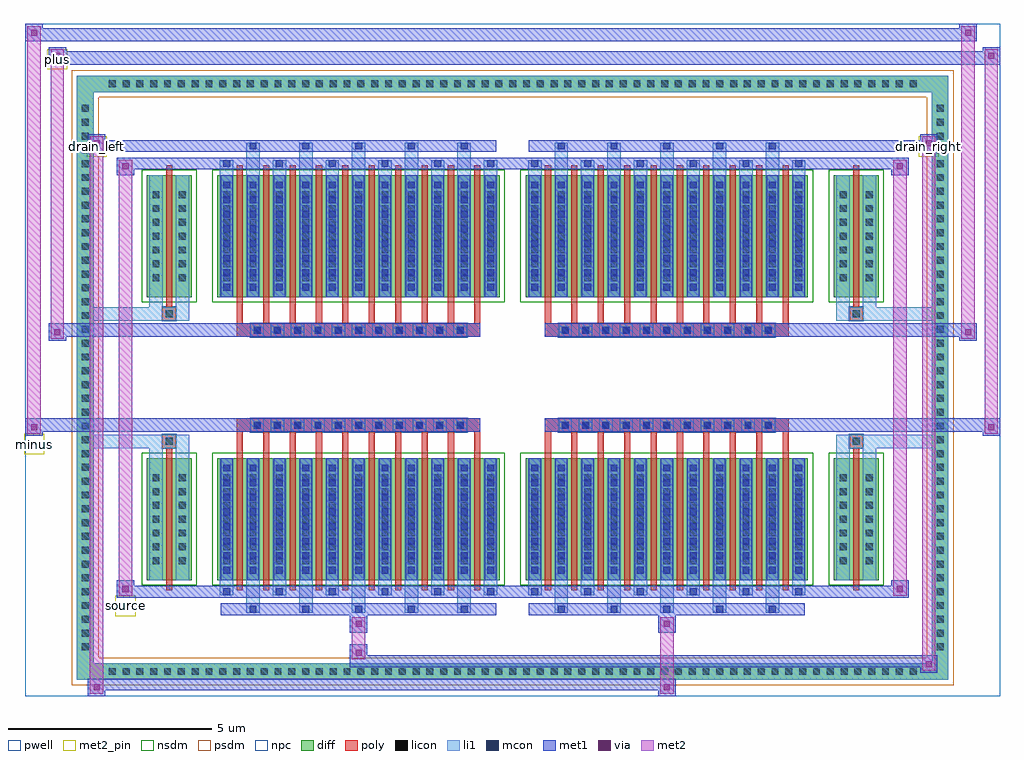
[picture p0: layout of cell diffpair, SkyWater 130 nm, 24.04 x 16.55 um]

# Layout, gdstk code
import gdstk
lib = gdstk.Library(unit=1e-6, precision=5e-09)
def R(c, l, rs):  # rectangles x0, y0, x1, y1
    for r in rs: c.add(gdstk.rectangle(r[:2], r[2:], *l))
def A(c, l, x, y, w, h, nx, ny, dx, dy):  # array of equal rectangles
    R(c, l, [(x+i*dx, y+j*dy, x+i*dx+w, y+j*dy+h) for i in range(nx) for j in range(ny)])
def P(c, l, *ps):  # polygons
    for p in ps: c.add(gdstk.Polygon(p, *l))
pwell = (64, 44)
diff = (65, 20)
poly = (66, 20)
licon = (66, 44)
li1 = (67, 20)
mcon = (67, 44)
met1 = (68, 20)
via = (68, 44)
met2_pin = (69, 16)
met2 = (69, 20)
nsdm = (93, 44)
psdm = (94, 20)
npc = (95, 20)

diffpair = lib.new_cell('diffpair')
R(diffpair, pwell, [(-12,-7.84,12,8.71), (-9.32,-6.03,-0.01,-0.805), (0.01,-6.03,9.32,-0.805), (-9.32,0.805,-0.01,6.03), (0.01,0.805,9.32,6.03)])
A(diffpair, diff, -10.065, -7.44, 0.41, 0.41, 59, 2, 0.34, 14.47)
A(diffpair, diff, -10.73, -6.835, 0.41, 0.41, 1, 40, 0, 0.34)
A(diffpair, diff, 10.32, -6.835, 0.41, 0.41, 1, 40, 0, 0.34)
R(diffpair, diff, [(-10.065,-7.44,10.065,-7.03), (-10.73,-6.835,-10.32,6.835), (10.32,-6.835,10.73,6.835), (-9.01,-4.985,-7.91,-1.985), (-7.27,-4.985,-0.32,-1.985), (0.32,-4.985,7.27,-1.985), (7.91,-4.985,9.01,-1.985), (-9.01,1.985,-7.91,4.985), (-7.27,1.985,-0.32,4.985), (0.32,1.985,7.27,4.985), (7.91,1.985,9.01,4.985), (-10.065,7.03,10.065,7.44)])
P(diffpair, diff, [(10.73,7.44),(-10.73,7.44),(-10.73,-7.03),(-10.32,-7.03),(-10.32,7.03),(10.32,7.03),(10.32,-7.03),(-10.32,-7.03),(-10.73,-7.03),(-10.73,-7.44),(10.73,-7.44)])
A(diffpair, poly, -6.795, -5.235, 0.15, 3.5, 10, 2, 0.65, 6.97)
A(diffpair, poly, 0.795, -5.235, 0.15, 3.5, 10, 2, 0.65, 6.97)
A(diffpair, poly, -6.795, -1.735, 0.15, 0.4, 10, 2, 0.65, 3.07)
A(diffpair, poly, 0.795, -1.735, 0.15, 0.4, 10, 2, 0.65, 3.07)
A(diffpair, poly, -6.46, -1.335, 0.33, 0.33, 11, 2, 0.5, 2.34)
A(diffpair, poly, 1.13, -1.335, 0.33, 0.33, 11, 2, 0.5, 2.34)
R(diffpair, poly, [(-8.535,-5.235,-8.385,-1.735), (8.385,-5.235,8.535,-1.735), (-8.625,-1.735,-8.295,-1.405), (-8.625,-1.735,-8.295,-1.405), (8.295,-1.735,8.625,-1.405), (8.295,-1.735,8.625,-1.405), (-6.795,-1.335,-0.795,-1.005), (0.795,-1.335,6.795,-1.005), (-6.795,1.005,-0.795,1.335), (0.795,1.005,6.795,1.335), (-8.625,1.405,-8.295,1.735), (-8.625,1.405,-8.295,1.735), (8.295,1.405,8.625,1.735), (8.295,1.405,8.625,1.735), (-8.535,1.735,-8.385,5.235), (8.385,1.735,8.535,5.235)])
A(diffpair, licon, -9.945, -7.32, 0.17, 0.17, 59, 2, 0.34, 14.47)
A(diffpair, licon, -10.61, -6.715, 0.17, 0.17, 1, 40, 0, 0.34)
A(diffpair, licon, 10.44, -6.715, 0.17, 0.17, 1, 40, 0, 0.34)
A(diffpair, licon, -8.87, -4.59, 0.17, 0.17, 1, 7, 0, 0.34)
A(diffpair, licon, -8.22, -4.59, 0.17, 0.17, 1, 7, 0, 0.34)
A(diffpair, licon, -7.13, -4.59, 0.17, 0.17, 11, 7, 0.65, 0.34)
A(diffpair, licon, 0.46, -4.59, 0.17, 0.17, 11, 7, 0.65, 0.34)
A(diffpair, licon, 8.05, -4.59, 0.17, 0.17, 1, 7, 0, 0.34)
A(diffpair, licon, 8.7, -4.59, 0.17, 0.17, 1, 7, 0, 0.34)
A(diffpair, licon, -6.38, -1.255, 0.17, 0.17, 11, 2, 0.5, 2.34)
A(diffpair, licon, 1.21, -1.255, 0.17, 0.17, 11, 2, 0.5, 2.34)
A(diffpair, licon, -8.87, 2.38, 0.17, 0.17, 1, 7, 0, 0.34)
A(diffpair, licon, -8.22, 2.38, 0.17, 0.17, 1, 7, 0, 0.34)
A(diffpair, licon, -7.13, 2.38, 0.17, 0.17, 11, 7, 0.65, 0.34)
A(diffpair, licon, 0.46, 2.38, 0.17, 0.17, 11, 7, 0.65, 0.34)
A(diffpair, licon, 8.05, 2.38, 0.17, 0.17, 1, 7, 0, 0.34)
A(diffpair, licon, 8.7, 2.38, 0.17, 0.17, 1, 7, 0, 0.34)
R(diffpair, licon, [(-8.545,-1.655,-8.375,-1.485), (8.375,-1.655,8.545,-1.485), (-8.545,1.485,-8.375,1.655), (8.375,1.485,8.545,1.655)])
A(diffpair, li1, -10.025, -7.4, 0.33, 0.33, 59, 2, 0.34, 14.47)
A(diffpair, li1, -10.69, -6.795, 0.33, 0.33, 1, 40, 0, 0.34)
A(diffpair, li1, 10.36, -6.795, 0.33, 0.33, 1, 40, 0, 0.34)
A(diffpair, li1, -6.56, -5.79, 0.33, 0.805, 5, 2, 1.3, 10.775)
A(diffpair, li1, -6.48, -5.79, 0.17, 0.17, 5, 2, 1.3, 11.41)
A(diffpair, li1, 1.03, -5.79, 0.33, 0.805, 5, 2, 1.3, 10.775)
A(diffpair, li1, 1.11, -5.79, 0.17, 0.17, 5, 2, 1.3, 11.41)
A(diffpair, li1, -7.21, -5.36, 0.33, 0.375, 6, 2, 1.3, 10.345)
A(diffpair, li1, -7.13, -5.36, 0.17, 0.17, 6, 2, 1.3, 10.55)
A(diffpair, li1, 0.38, -5.36, 0.33, 0.375, 6, 2, 1.3, 10.345)
A(diffpair, li1, 0.46, -5.36, 0.17, 0.17, 6, 2, 1.3, 10.55)
A(diffpair, li1, -7.21, -4.985, 0.33, 3, 11, 2, 0.65, 6.97)
A(diffpair, li1, 0.38, -4.985, 0.33, 3, 11, 2, 0.65, 6.97)
A(diffpair, li1, -7.13, -4.83, 0.17, 0.17, 11, 8, 0.65, 0.36)
A(diffpair, li1, -7.13, -4.83, 0.17, 2.69, 11, 2, 0.65, 6.97)
A(diffpair, li1, 0.46, -4.83, 0.17, 0.17, 11, 8, 0.65, 0.36)
A(diffpair, li1, 0.46, -4.83, 0.17, 2.69, 11, 2, 0.65, 6.97)
A(diffpair, li1, -8.95, -4.67, 0.33, 0.33, 1, 7, 0, 0.34)
A(diffpair, li1, -8.3, -4.67, 0.33, 0.33, 1, 7, 0, 0.34)
A(diffpair, li1, -7.21, -4.67, 0.33, 0.33, 11, 7, 0.65, 0.34)
A(diffpair, li1, 0.38, -4.67, 0.33, 0.33, 11, 7, 0.65, 0.34)
A(diffpair, li1, 7.97, -4.67, 0.33, 0.33, 1, 7, 0, 0.34)
A(diffpair, li1, 8.62, -4.67, 0.33, 0.33, 1, 7, 0, 0.34)
A(diffpair, li1, -6.46, -1.335, 0.33, 0.33, 11, 2, 0.5, 2.34)
A(diffpair, li1, 1.13, -1.335, 0.33, 0.33, 11, 2, 0.5, 2.34)
A(diffpair, li1, -7.13, 2.14, 0.17, 0.17, 11, 8, 0.65, 0.36)
A(diffpair, li1, 0.46, 2.14, 0.17, 0.17, 11, 8, 0.65, 0.36)
A(diffpair, li1, -8.95, 2.3, 0.33, 0.33, 1, 7, 0, 0.34)
A(diffpair, li1, -8.3, 2.3, 0.33, 0.33, 1, 7, 0, 0.34)
A(diffpair, li1, -7.21, 2.3, 0.33, 0.33, 11, 7, 0.65, 0.34)
A(diffpair, li1, 0.38, 2.3, 0.33, 0.33, 11, 7, 0.65, 0.34)
A(diffpair, li1, 7.97, 2.3, 0.33, 0.33, 1, 7, 0, 0.34)
A(diffpair, li1, 8.62, 2.3, 0.33, 0.33, 1, 7, 0, 0.34)
R(diffpair, li1, [(-10.73,-7.44,-10.32,-7.03), (-10.73,-7.44,-10.32,-7.03), (-10.32,-7.44,10.32,-7.03), (10.32,-7.44,10.73,-7.03), (10.32,-7.44,10.73,-7.03), (-10.73,-7.03,-10.32,7.03), (10.32,-7.03,10.73,7.03), (-8.95,-4.985,-8.62,-1.985), (-8.3,-4.985,-7.97,-1.985), (7.97,-4.985,8.3,-1.985), (8.62,-4.985,8.95,-1.985), (-8.95,-1.985,-8.62,-1.405), (-8.3,-1.985,-7.97,-1.405), (7.97,-1.985,8.3,-1.405), (8.62,-1.985,8.95,-1.405), (-10.73,-1.735,-8.625,-1.405), (-8.95,-1.735,-8.625,-1.405), (-8.625,-1.735,-8.295,-1.405), (-8.295,-1.735,-7.97,-1.405), (7.97,-1.735,8.295,-1.405), (8.295,-1.735,8.625,-1.405), (8.295,-1.735,10.73,-1.405), (8.625,-1.735,8.95,-1.405), (-10.73,1.405,-8.625,1.735), (-8.95,1.405,-8.625,1.735), (-8.95,1.405,-8.62,1.985), (-8.625,1.405,-8.295,1.735), (-8.3,1.405,-7.97,1.985), (-8.295,1.405,-7.97,1.735), (7.97,1.405,8.295,1.735), (7.97,1.405,8.3,1.985), (8.295,1.405,8.625,1.735), (8.295,1.405,10.73,1.735), (8.62,1.405,8.95,1.985), (8.625,1.405,8.95,1.735), (-8.95,1.985,-8.62,4.985), (-8.3,1.985,-7.97,4.985), (7.97,1.985,8.3,4.985), (8.62,1.985,8.95,4.985), (-10.73,7.03,-10.32,7.44), (-10.73,7.03,-10.32,7.44), (-10.32,7.03,10.32,7.44), (10.32,7.03,10.73,7.44), (10.32,7.03,10.73,7.44)])
A(diffpair, mcon, -6.48, -5.79, 0.17, 0.17, 5, 2, 1.3, 11.41)
A(diffpair, mcon, 1.11, -5.79, 0.17, 0.17, 5, 2, 1.3, 11.41)
A(diffpair, mcon, -7.13, -5.36, 0.17, 0.17, 6, 2, 1.3, 10.55)
A(diffpair, mcon, 0.46, -5.36, 0.17, 0.17, 6, 2, 1.3, 10.55)
A(diffpair, mcon, -7.13, -4.83, 0.17, 0.17, 11, 8, 0.65, 0.36)
A(diffpair, mcon, 0.46, -4.83, 0.17, 0.17, 11, 8, 0.65, 0.36)
A(diffpair, mcon, -6.38, -1.255, 0.17, 0.17, 11, 2, 0.5, 2.34)
A(diffpair, mcon, 1.21, -1.255, 0.17, 0.17, 11, 2, 0.5, 2.34)
A(diffpair, mcon, -7.13, 2.14, 0.17, 0.17, 11, 8, 0.65, 0.36)
A(diffpair, mcon, 0.46, 2.14, 0.17, 0.17, 11, 8, 0.65, 0.36)
A(diffpair, met1, -6.54, -5.85, 0.29, 0.29, 5, 2, 1.3, 11.41)
A(diffpair, met1, 1.05, -5.85, 0.29, 0.29, 5, 2, 1.3, 11.41)
A(diffpair, met1, -7.19, -5.42, 0.29, 0.29, 6, 2, 1.3, 10.55)
A(diffpair, met1, 0.4, -5.42, 0.29, 0.29, 6, 2, 1.3, 10.55)
A(diffpair, met1, -7.19, -4.985, 0.29, 3, 11, 2, 0.65, 6.97)
A(diffpair, met1, 0.4, -4.985, 0.29, 3, 11, 2, 0.65, 6.97)
A(diffpair, met1, -7.19, -4.89, 0.29, 0.29, 11, 8, 0.65, 0.36)
A(diffpair, met1, 0.4, -4.89, 0.29, 0.29, 11, 8, 0.65, 0.36)
A(diffpair, met1, -6.44, -1.315, 0.29, 0.29, 11, 2, 0.5, 2.34)
A(diffpair, met1, 1.15, -1.315, 0.29, 0.29, 11, 2, 0.5, 2.34)
A(diffpair, met1, -7.19, 2.08, 0.29, 0.29, 11, 8, 0.65, 0.36)
A(diffpair, met1, 0.4, 2.08, 0.29, 0.29, 11, 8, 0.65, 0.36)
R(diffpair, met1, [(-10.46,-7.84,-10.03,-7.41), (3.58,-7.84,4.01,-7.41), (-10.46,-7.7,4.01,-7.41), (10.03,-7.27,10.46,-6.84), (-4.01,-7.13,10.46,-6.84), (-4.01,-6.99,-3.58,-6.56), (-4.01,-6.28,-3.58,-5.85), (3.58,-6.28,4.01,-5.85), (-7.19,-5.85,-0.4,-5.56), (0.4,-5.85,7.19,-5.56), (-9.75,-5.42,-9.32,-4.99), (-9.75,-5.42,-7.19,-5.13), (-7.19,-5.42,-0.4,-5.13), (-0.4,-5.42,0.4,-5.13), (0.4,-5.42,7.19,-5.13), (7.19,-5.42,9.75,-5.13), (9.32,-5.42,9.75,-4.99), (-12,-1.435,-11.57,-1.005), (11.57,-1.435,12,-1.005), (-12,-1.335,-0.795,-1.005), (-6.795,-1.335,-0.795,-1.005), (0.795,-1.335,6.795,-1.005), (0.795,-1.335,12,-1.005), (-11.43,0.905,-11,1.335), (11,0.905,11.43,1.335), (-11.43,1.005,-6.795,1.335), (-6.795,1.005,-0.795,1.335), (0.795,1.005,6.795,1.335), (6.795,1.005,11.43,1.335), (-9.75,4.99,-9.32,5.42), (9.32,4.99,9.75,5.42), (-9.75,5.13,-7.19,5.42), (-7.19,5.13,-0.4,5.42), (-0.4,5.13,0.4,5.42), (0.4,5.13,7.19,5.42), (7.19,5.13,9.75,5.42), (-10.46,5.56,-10.03,5.99), (-10.46,5.56,-7.19,5.85), (-7.19,5.56,-0.4,5.85), (0.4,5.56,7.19,5.85), (7.19,5.56,10.46,5.85), (10.03,5.56,10.46,5.99), (-11.43,7.71,-11,8.14), (-11.43,7.71,-9.32,8.04), (-9.32,7.71,9.32,8.04), (9.32,7.71,12,8.04), (11.57,7.71,12,8.14), (-12,8.28,-11.57,8.71), (-12,8.28,-9.32,8.61), (-9.32,8.28,9.32,8.61), (9.32,8.28,11.43,8.61), (11,8.28,11.43,8.71)])
R(diffpair, via, [(-10.32,-7.7,-10.17,-7.55), (3.72,-7.7,3.87,-7.55), (10.17,-7.13,10.32,-6.98), (-3.87,-6.85,-3.72,-6.7), (-3.87,-6.14,-3.72,-5.99), (3.72,-6.14,3.87,-5.99), (-9.61,-5.28,-9.46,-5.13), (9.46,-5.28,9.61,-5.13), (-11.86,-1.295,-11.71,-1.145), (11.71,-1.295,11.86,-1.145), (-11.29,1.045,-11.14,1.195), (11.14,1.045,11.29,1.195), (-9.61,5.13,-9.46,5.28), (9.46,5.13,9.61,5.28), (-10.32,5.7,-10.17,5.85), (10.17,5.7,10.32,5.85), (-11.29,7.85,-11.14,8), (11.71,7.85,11.86,8), (-11.86,8.42,-11.71,8.57), (11.14,8.42,11.29,8.57)])
R(diffpair, met2_pin, [(-9.785,-5.87,-9.285,-5.37), (-12.035,-1.885,-11.535,-1.385), (-10.495,5.44,-9.995,5.94), (9.995,5.44,10.495,5.94), (-11.465,7.59,-10.965,8.09)])
R(diffpair, met2, [(-10.41,-7.79,-10.08,-7.46), (-10.41,-7.79,-10.08,5.94), (3.63,-7.79,3.96,-7.46), (3.63,-7.46,3.96,-6.23), (10.08,-7.22,10.41,-6.89), (10.08,-7.22,10.41,5.94), (-3.96,-6.94,-3.63,-6.61), (-3.96,-6.61,-3.63,-6.23), (-3.96,-6.23,-3.63,-5.9), (3.63,-6.23,3.96,-5.9), (-9.7,-5.37,-9.37,-5.04), (-9.7,-5.37,-9.37,5.37), (9.37,-5.37,9.7,-5.04), (9.37,-5.37,9.7,5.37), (-11.95,-1.385,-11.62,-1.055), (-11.95,-1.385,-11.62,8.66), (11.62,-1.385,11.95,-1.055), (11.62,-1.385,11.95,8.09), (-11.38,0.955,-11.05,1.285), (-11.38,0.955,-11.05,8.09), (11.05,0.955,11.38,1.285), (11.05,0.955,11.38,8.66), (-9.7,5.04,-9.37,5.37), (9.37,5.04,9.7,5.37), (-10.41,5.61,-10.08,5.94), (10.08,5.61,10.41,5.94), (-11.38,7.76,-11.05,8.09), (11.62,7.76,11.95,8.09), (-11.95,8.33,-11.62,8.66), (11.05,8.33,11.38,8.66)])
P(diffpair, met2, [(11.95,-1.385),(11.95,-1.385),(11.95,-1.055),(11.95,-1.055)],
  [(11.95,7.76),(11.95,7.76),(11.95,8.09),(11.95,8.09)],
  [(-11.62,-1.385),(-11.62,-1.385),(-11.62,-1.055),(-11.62,-1.055)],
  [(-11.62,8.33),(-11.62,8.33),(-11.62,8.66),(-11.62,8.66)],
  [(11.38,0.955),(11.38,0.955),(11.38,1.285),(11.38,1.285)],
  [(11.38,8.33),(11.38,8.33),(11.38,8.66),(11.38,8.66)],
  [(-11.05,0.955),(-11.05,0.955),(-11.05,1.285),(-11.05,1.285)],
  [(-11.05,7.76),(-11.05,7.76),(-11.05,8.09),(-11.05,8.09)],
  [(-10.08,-7.79),(-10.08,-7.79),(-10.08,-7.46),(-10.08,-7.46)],
  [(-10.08,5.61),(-10.08,5.61),(-10.08,5.94),(-10.08,5.94)],
  [(10.41,-7.22),(10.41,-7.22),(10.41,-6.89),(10.41,-6.89)],
  [(10.41,5.61),(10.41,5.61),(10.41,5.94),(10.41,5.94)],
  [(-9.37,-5.37),(-9.37,-5.37),(-9.37,-5.04),(-9.37,-5.04)],
  [(-9.37,5.04),(-9.37,5.04),(-9.37,5.37),(-9.37,5.37)],
  [(9.7,-5.37),(9.7,-5.37),(9.7,-5.04),(9.7,-5.04)],
  [(9.7,5.04),(9.7,5.04),(9.7,5.37),(9.7,5.37)])
R(diffpair, nsdm, [(-9.14,-5.115,-7.78,-1.855), (-7.4,-5.115,-0.19,-1.855), (0.19,-5.115,7.4,-1.855), (7.78,-5.115,9.14,-1.855), (-9.14,1.855,-7.78,5.115), (-7.4,1.855,-0.19,5.115), (0.19,1.855,7.4,5.115), (7.78,1.855,9.14,5.115)])
P(diffpair, psdm, [(10.86,7.57),(-10.86,7.57),(-10.86,-6.9),(-10.19,-6.9),(-10.19,6.9),(10.19,6.9),(10.19,-6.9),(-10.19,-6.9),(-10.86,-6.9),(-10.86,-7.57),(10.86,-7.57)])
A(diffpair, npc, -6.48, -1.355, 0.37, 0.37, 11, 2, 0.5, 2.34)
A(diffpair, npc, 1.11, -1.355, 0.37, 0.37, 11, 2, 0.5, 2.34)
R(diffpair, npc, [(-8.645,-1.755,-8.275,-1.385), (8.275,-1.755,8.645,-1.385), (-6.48,-1.355,-5.61,-0.985), (-6.48,-1.355,-5.61,-0.985), (-5.98,-1.355,-5.11,-0.985), (-5.98,-1.355,-5.11,-0.985), (-5.48,-1.355,-4.61,-0.985), (-5.48,-1.355,-4.61,-0.985), (-4.98,-1.355,-4.11,-0.985), (-4.98,-1.355,-4.11,-0.985), (-4.48,-1.355,-3.61,-0.985), (-4.48,-1.355,-3.61,-0.985), (-3.98,-1.355,-3.11,-0.985), (-3.98,-1.355,-3.11,-0.985), (-3.48,-1.355,-2.61,-0.985), (-3.48,-1.355,-2.61,-0.985), (-2.98,-1.355,-2.11,-0.985), (-2.98,-1.355,-2.11,-0.985), (-2.48,-1.355,-1.61,-0.985), (-2.48,-1.355,-1.61,-0.985), (-1.98,-1.355,-1.11,-0.985), (-1.98,-1.355,-1.11,-0.985), (1.11,-1.355,1.98,-0.985), (1.11,-1.355,1.98,-0.985), (1.61,-1.355,2.48,-0.985), (1.61,-1.355,2.48,-0.985), (2.11,-1.355,2.98,-0.985), (2.11,-1.355,2.98,-0.985), (2.61,-1.355,3.48,-0.985), (2.61,-1.355,3.48,-0.985), (3.11,-1.355,3.98,-0.985), (3.11,-1.355,3.98,-0.985), (3.61,-1.355,4.48,-0.985), (3.61,-1.355,4.48,-0.985), (4.11,-1.355,4.98,-0.985), (4.11,-1.355,4.98,-0.985), (4.61,-1.355,5.48,-0.985), (4.61,-1.355,5.48,-0.985), (5.11,-1.355,5.98,-0.985), (5.11,-1.355,5.98,-0.985), (5.61,-1.355,6.48,-0.985), (5.61,-1.355,6.48,-0.985), (-6.48,0.985,-5.61,1.355), (-6.48,0.985,-5.61,1.355), (-5.98,0.985,-5.11,1.355), (-5.98,0.985,-5.11,1.355), (-5.48,0.985,-4.61,1.355), (-5.48,0.985,-4.61,1.355), (-4.98,0.985,-4.11,1.355), (-4.98,0.985,-4.11,1.355), (-4.48,0.985,-3.61,1.355), (-4.48,0.985,-3.61,1.355), (-3.98,0.985,-3.11,1.355), (-3.98,0.985,-3.11,1.355), (-3.48,0.985,-2.61,1.355), (-3.48,0.985,-2.61,1.355), (-2.98,0.985,-2.11,1.355), (-2.98,0.985,-2.11,1.355), (-2.48,0.985,-1.61,1.355), (-2.48,0.985,-1.61,1.355), (-1.98,0.985,-1.11,1.355), (-1.98,0.985,-1.11,1.355), (1.11,0.985,1.98,1.355), (1.11,0.985,1.98,1.355), (1.61,0.985,2.48,1.355), (1.61,0.985,2.48,1.355), (2.11,0.985,2.98,1.355), (2.11,0.985,2.98,1.355), (2.61,0.985,3.48,1.355), (2.61,0.985,3.48,1.355), (3.11,0.985,3.98,1.355), (3.11,0.985,3.98,1.355), (3.61,0.985,4.48,1.355), (3.61,0.985,4.48,1.355), (4.11,0.985,4.98,1.355), (4.11,0.985,4.98,1.355), (4.61,0.985,5.48,1.355), (4.61,0.985,5.48,1.355), (5.11,0.985,5.98,1.355), (5.11,0.985,5.98,1.355), (5.61,0.985,6.48,1.355), (5.61,0.985,6.48,1.355), (-8.645,1.385,-8.275,1.755), (8.275,1.385,8.645,1.755)])
diffpair.add(gdstk.Label('minus', (-11.785,-1.635), layer=69, texttype=5))
diffpair.add(gdstk.Label('drain_right', (10.245,5.69), layer=69, texttype=5))
diffpair.add(gdstk.Label('drain_left', (-10.245,5.69), layer=69, texttype=5))
diffpair.add(gdstk.Label('source', (-9.535,-5.62), layer=69, texttype=5))
diffpair.add(gdstk.Label('plus', (-11.215,7.84), layer=69, texttype=5))

lib.write_gds('diffpair.gds')
